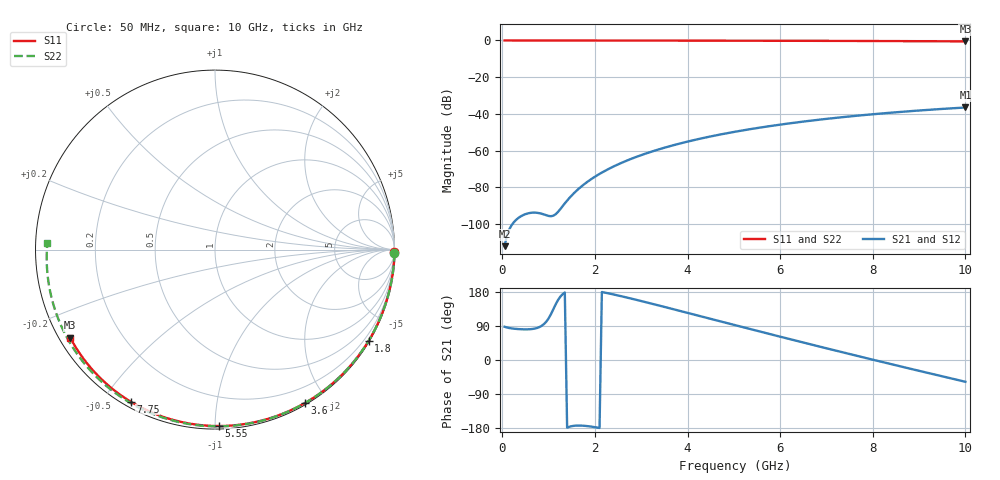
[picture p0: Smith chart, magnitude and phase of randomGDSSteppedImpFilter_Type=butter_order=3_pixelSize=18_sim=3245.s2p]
! freq	dB(S11)	phase(S11)	dB(S12)	phase(S12)
!  dB(S21)	phase(S21)	dB(S22)	phase(S22)
!S-par simulation data
#  GHz  S  DB  R 50
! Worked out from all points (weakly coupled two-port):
!   200 points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, 50 MHz to 10 GHz, reference 50 ohm
!   highest |S21| = -36.50 dB at 10 GHz (marker M1); lowest = -112.0 dB at 50 MHz (marker M2)
!   lowest |S11| = -0.5 dB at 10 GHz (marker M3), VSWR 34.75, Z = 1.55 - j14 ohm
!   |S11| at or under -10 dB: nowhere
!   |S22| runs from -0.6 to 0.0 dB; largest |S21 - S12| = 0
!   S11 on the Smith chart (normalised r, x): 50 MHz: open; 1.8 GHz: 0.03, -3.65; 3.6 GHz: 0.02, -1.74; 5.55 GHz: 0.02, -1.02; 7.75 GHz: 0.02, -0.59; 10 GHz: 0.03, -0.28
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0.05  -0.00 -0.9  -112.01 87.7  -112.01 87.7  -0.00 -1.1
0.4  -0.01 -6.9  -95.76 81.2  -95.76 81.2  -0.01 -8.5
0.8  -0.02 -13.8  -94.04 86.8  -94.04 86.8  -0.02 -16.9
1.2  -0.03 -20.5  -93.43 157.6  -93.43 157.6  -0.03 -25.2
1.65  -0.04 -28.1  -80.74 -173.0  -80.74 -173.0  -0.04 -34.4
1.7  -0.04 -28.9  -79.66 -173.1  -79.66 -173.1  -0.05 -35.4
1.75  -0.04 -29.8  -78.64 -173.4  -78.64 -173.4  -0.05 -36.4
1.8  -0.04 -30.6  -77.66 -174.0  -77.66 -174.0  -0.05 -37.4
2.1  -0.05 -35.6  -72.66 -179.4  -72.66 -179.4  -0.06 -43.4
2.5  -0.05 -42.1  -67.48 170.3  -67.48 170.3  -0.07 -51.4
2.9  -0.06 -48.6  -63.34 158.6  -63.34 158.6  -0.08 -59.2
3.4  -0.08 -56.5  -59.15 143.3  -59.15 143.3  -0.09 -68.7
3.6  -0.08 -59.7  -57.69 137.0  -57.69 137.0  -0.10 -72.5
4.3  -0.10 -70.4  -53.33 114.9  -53.33 114.9  -0.12 -85.3
5.05  -0.13 -81.5  -49.59 91.2  -49.59 91.2  -0.15 -98.6
5.55  -0.15 -88.8  -47.50 75.5  -47.50 75.5  -0.18 -107.3
6.1  -0.17 -96.6  -45.48 58.4  -45.48 58.4  -0.21 -116.6
6.7  -0.20 -104.9  -43.56 40.0  -43.56 40.0  -0.25 -126.6
7.75  -0.28 -119.1  -40.76 8.3  -40.76 8.3  -0.33 -144.0
8.35  -0.33 -127.0  -39.41 -9.5  -39.41 -9.5  -0.39 -153.9
9.2  -0.41 -138.2  -37.78 -34.4  -37.78 -34.4  -0.48 -168.3
10  -0.50 -148.7  -36.50 -57.5  -36.50 -57.5  -0.59 177.7
